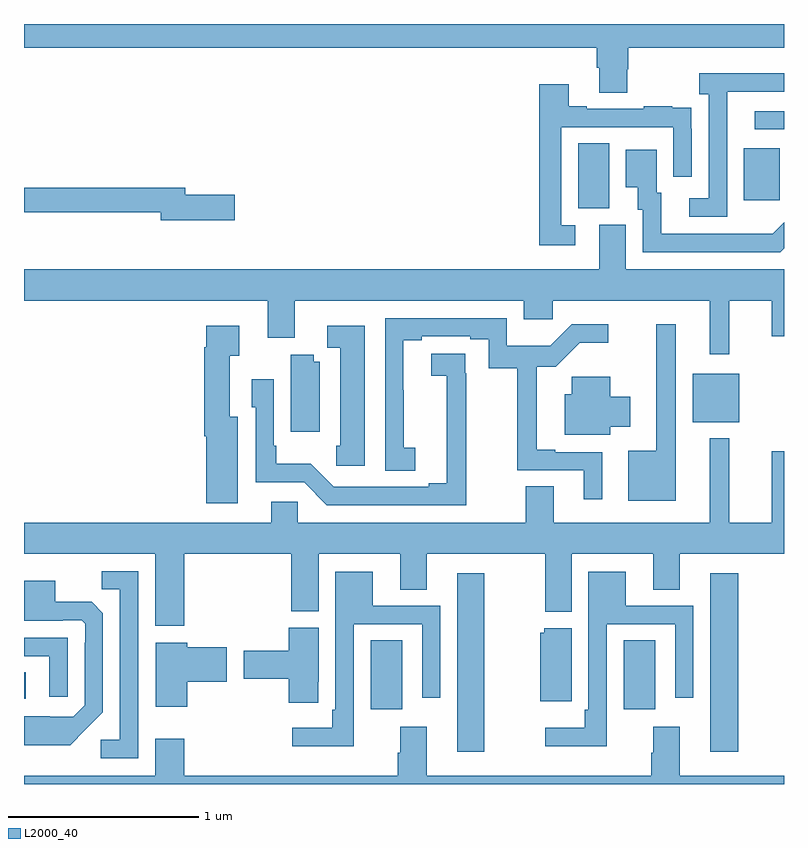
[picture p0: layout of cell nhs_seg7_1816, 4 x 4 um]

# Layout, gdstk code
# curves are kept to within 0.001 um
import gdstk
lib = gdstk.Library(unit=1e-6, precision=1e-09)
def R(c, l, rs):  # rectangles x0, y0, x1, y1
    for r in rs: c.add(gdstk.rectangle(r[:2], r[2:], *l))
def P(c, l, *ps):  # polygons
    for p in ps: c.add(gdstk.Polygon(p, *l))
L2000_40 = (2000, 40)

nhs_seg7_1816 = lib.new_cell('nhs_seg7_1816')
R(nhs_seg7_1816, L2000_40, [(235.28,1070.169,235.422,1071.109), (236.612,1070.169,236.759,1071.109), (234.824,1070.394,234.991,1070.756), (236.156,1070.394,236.323,1070.756), (233,1070.448,233.008,1070.588), (236.519,1071.905,236.764,1072.159), (235.916,1073.029,236.08,1073.372), (236.789,1073.073,236.977,1073.347), (236.847,1073.445,237,1073.541)])
P(nhs_seg7_1816, L2000_40, [(236.175,1073.763),(236.18,1073.763),(236.18,1073.876),(237,1073.876),(237,1074),(233,1074),(233,1073.876),(236.015,1073.876),(236.015,1073.77),(236.027,1073.77),(236.027,1073.638),(236.175,1073.638)],
  [(236.7,1073.443),(236.701,1073.443),(236.701,1073.643),(237,1073.643),(237,1073.74),(236.553,1073.74),(236.553,1073.63),(236.604,1073.63),(236.604,1073.082),(236.502,1073.082),(236.502,1072.986),(236.7,1072.986)],
  [(235.9,1072.941),(235.827,1072.941),(235.827,1073.457),(236.418,1073.457),(236.418,1073.196),(236.514,1073.196),(236.514,1073.45),(236.513,1073.45),(236.513,1073.559),(236.411,1073.559),(236.411,1073.566),(236.263,1073.566),(236.263,1073.553),(235.963,1073.553),(235.963,1073.566),(235.867,1073.566),(235.867,1073.683),(235.711,1073.683),(235.711,1072.836),(235.9,1072.836)],
  [(237,1072.82),(237,1072.956),(236.941,1072.897),(236.353,1072.896),(236.353,1073.112),(236.329,1073.112),(236.329,1073.338),(236.168,1073.338),(236.168,1073.141),(236.231,1073.141),(236.231,1073.022),(236.256,1073.022),(236.256,1072.8),(236.98,1072.8)],
  [(234.109,1073.102),(233.848,1073.102),(233.848,1073.138),(233,1073.138),(233,1073.01),(233.72,1073.01),(233.72,1072.967),(234.109,1072.967)],
  [(236.713,1072.544),(236.936,1072.544),(236.936,1072.356),(237,1072.356),(237,1072.708),(236.167,1072.708),(236.167,1072.944),(236.027,1072.944),(236.027,1072.708),(233,1072.708),(233,1072.544),(234.284,1072.544),(234.284,1072.35),(234.424,1072.35),(234.424,1072.544),(235.631,1072.544),(235.631,1072.446),(235.783,1072.446),(235.783,1072.544),(236.609,1072.544),(236.609,1072.263),(236.713,1072.263)],
  [(236.044,1071.747),(235.795,1071.747),(235.795,1071.76),(235.699,1071.76),(235.699,1072.197),(235.799,1072.197),(235.925,1072.322),(236.074,1072.322),(236.074,1072.419),(235.884,1072.419),(235.771,1072.306),(235.542,1072.306),(235.542,1072.452),(234.9,1072.452),(234.9,1071.649),(235.06,1071.649),(235.06,1071.769),(234.999,1071.769),(234.999,1072.073),(234.997,1072.073),(234.997,1072.336),(235.093,1072.336),(235.093,1072.356),(235.349,1072.356),(235.349,1072.342),(235.446,1072.342),(235.446,1072.189),(235.597,1072.189),(235.597,1071.651),(235.946,1071.651),(235.946,1071.498),(236.044,1071.498)],
  [(236.431,1072.42),(236.327,1072.42),(236.327,1071.754),(236.18,1071.754),(236.18,1071.491),(236.431,1071.491)],
  [(234.124,1071.934),(234.082,1071.934),(234.082,1072.255),(234.133,1072.255),(234.133,1072.411),(233.96,1072.411),(233.96,1072.298),(233.948,1072.298),(233.948,1071.83),(233.96,1071.83),(233.96,1071.477),(234.124,1071.477)],
  [(234.793,1072.411),(234.597,1072.411),(234.597,1072.296),(234.665,1072.296),(234.665,1071.78),(234.643,1071.78),(234.643,1071.675),(234.793,1071.675)],
  [(235.328,1072.163),(235.322,1072.163),(235.322,1072.265),(235.143,1072.265),(235.143,1072.15),(235.225,1072.15),(235.226,1071.584),(235.13,1071.584),(235.13,1071.564),(234.63,1071.564),(234.509,1071.685),(234.328,1071.685),(234.328,1071.781),(234.315,1071.781),(234.315,1072.129),(234.198,1072.129),(234.198,1071.984),(234.219,1071.984),(234.219,1071.588),(234.474,1071.588),(234.594,1071.468),(235.328,1071.468)],
  [(234.556,1072.222),(234.524,1072.222),(234.524,1072.259),(234.404,1072.259),(234.404,1071.855),(234.556,1071.855)],
  [(236.086,1071.881),(236.191,1071.881),(236.191,1072.039),(236.086,1072.039),(236.086,1072.144),(235.883,1072.144),(235.883,1072.052),(235.847,1072.052),(235.847,1071.839),(236.086,1071.839)],
  [(233.843,1071.212),(234.407,1071.212),(234.407,1070.908),(234.55,1070.908),(234.55,1071.212),(234.98,1071.212),(234.98,1071.022),(235.12,1071.022),(235.12,1071.212),(235.744,1071.212),(235.744,1070.906),(235.882,1070.906),(235.882,1071.212),(236.312,1071.212),(236.312,1071.022),(236.452,1071.022),(236.452,1071.212),(237,1071.212),(237,1071.751),(236.936,1071.751),(236.936,1071.376),(236.713,1071.376),(236.713,1071.82),(236.609,1071.82),(236.609,1071.376),(235.789,1071.376),(235.789,1071.566),(235.642,1071.566),(235.642,1071.376),(234.441,1071.376),(234.441,1071.486),(234.302,1071.486),(234.302,1071.376),(233,1071.376),(233,1071.212),(233.69,1071.212),(233.69,1070.832),(233.843,1070.832)],
  [(233.601,1071.12),(233.41,1071.12),(233.41,1071.025),(233.505,1071.025),(233.505,1070.232),(233.403,1070.232),(233.403,1070.136),(233.601,1070.136)],
  [(236.067,1070.841),(236.427,1070.841),(236.427,1070.454),(236.523,1070.454),(236.523,1070.937),(236.167,1070.937),(236.167,1071.118),(235.971,1071.118),(235.971,1070.392),(235.951,1070.392),(235.951,1070.296),(235.743,1070.296),(235.743,1070.198),(236.067,1070.198)],
  [(234.735,1070.841),(235.095,1070.841),(235.095,1070.454),(235.191,1070.454),(235.191,1070.937),(234.835,1070.937),(234.835,1071.118),(234.639,1071.118),(234.639,1070.392),(234.623,1070.392),(234.623,1070.296),(234.411,1070.296),(234.411,1070.198),(234.735,1070.198)],
  [(233.323,1070.285),(233.415,1070.378),(233.415,1070.9),(233.356,1070.959),(233.164,1070.959),(233.164,1071.07),(233,1071.07),(233,1070.858),(233.204,1070.858),(233.204,1070.862),(233.304,1070.862),(233.322,1070.844),(233.322,1070.744),(233.319,1070.744),(233.319,1070.415),(233.259,1070.355),(233.002,1070.356),(233,1070.354),(233,1070.204),(233.243,1070.204)],
  [(234.549,1070.539),(234.55,1070.539),(234.55,1070.823),(234.394,1070.823),(234.394,1070.702),(234.156,1070.702),(234.156,1070.555),(234.394,1070.555),(234.394,1070.427),(234.549,1070.427)],
  [(235.882,1070.821),(235.737,1070.821),(235.737,1070.796),(235.718,1070.796),(235.718,1070.435),(235.882,1070.435)],
  [(233.229,1070.769),(233,1070.769),(233,1070.673),(233.133,1070.673),(233.133,1070.46),(233.229,1070.46)],
  [(233.86,1070.537),(234.067,1070.537),(234.067,1070.72),(233.86,1070.72),(233.86,1070.743),(233.693,1070.743),(233.693,1070.406),(233.86,1070.406)],
  [(237,1070.044),(236.452,1070.044),(236.452,1070.302),(236.312,1070.302),(236.312,1070.165),(236.3,1070.165),(236.3,1070.044),(235.12,1070.044),(235.12,1070.302),(234.98,1070.302),(234.98,1070.165),(234.968,1070.165),(234.968,1070.044),(233.843,1070.044),(233.843,1070.239),(233.69,1070.239),(233.69,1070.044),(233,1070.044),(233,1070),(237,1070)])

lib.write_gds('nhs_seg7_1816.gds')
